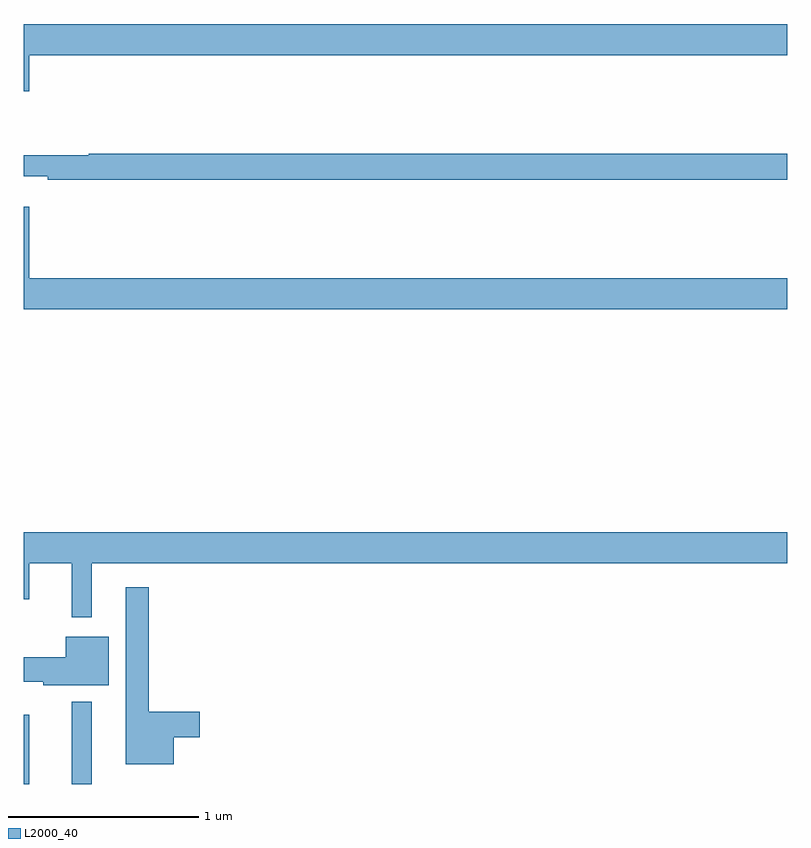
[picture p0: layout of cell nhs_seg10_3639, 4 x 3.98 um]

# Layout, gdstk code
import gdstk
lib = gdstk.Library(unit=1e-6, precision=1e-09)
def R(c, l, rs):  # rectangles x0, y0, x1, y1
    for r in rs: c.add(gdstk.rectangle(r[:2], r[2:], *l))
def P(c, l, *ps):  # polygons
    for p in ps: c.add(gdstk.Polygon(p, *l))
L2000_40 = (2000, 40)

nhs_seg10_3639 = lib.new_cell('nhs_seg10_3639')
R(nhs_seg10_3639, L2000_40, [(309,1292.5,309.028,1292.863), (309.251,1292.5,309.355,1292.932)])
P(nhs_seg10_3639, L2000_40, [(309.028,1296.32),(313,1296.32),(313,1296.484),(309,1296.484),(309,1296.132),(309.028,1296.132)],
  [(313,1295.804),(309.34,1295.804),(309.34,1295.797),(309,1295.797),(309,1295.687),(309.124,1295.687),(309.124,1295.668),(313,1295.668)],
  [(313,1295.152),(309.028,1295.152),(309.028,1295.527),(309,1295.527),(309,1294.988),(313,1294.988)],
  [(309.355,1293.656),(313,1293.656),(313,1293.82),(309,1293.82),(309,1293.468),(309.028,1293.468),(309.028,1293.656),(309.251,1293.656),(309.251,1293.375),(309.355,1293.375)],
  [(309.784,1292.744),(309.922,1292.744),(309.922,1292.879),(309.655,1292.879),(309.655,1293.532),(309.533,1293.532),(309.533,1292.603),(309.784,1292.603)],
  [(309.445,1293.271),(309.218,1293.271),(309.218,1293.165),(309,1293.165),(309,1293.035),(309.102,1293.035),(309.102,1293.017),(309.445,1293.017)])

lib.write_gds('nhs_seg10_3639.gds')
